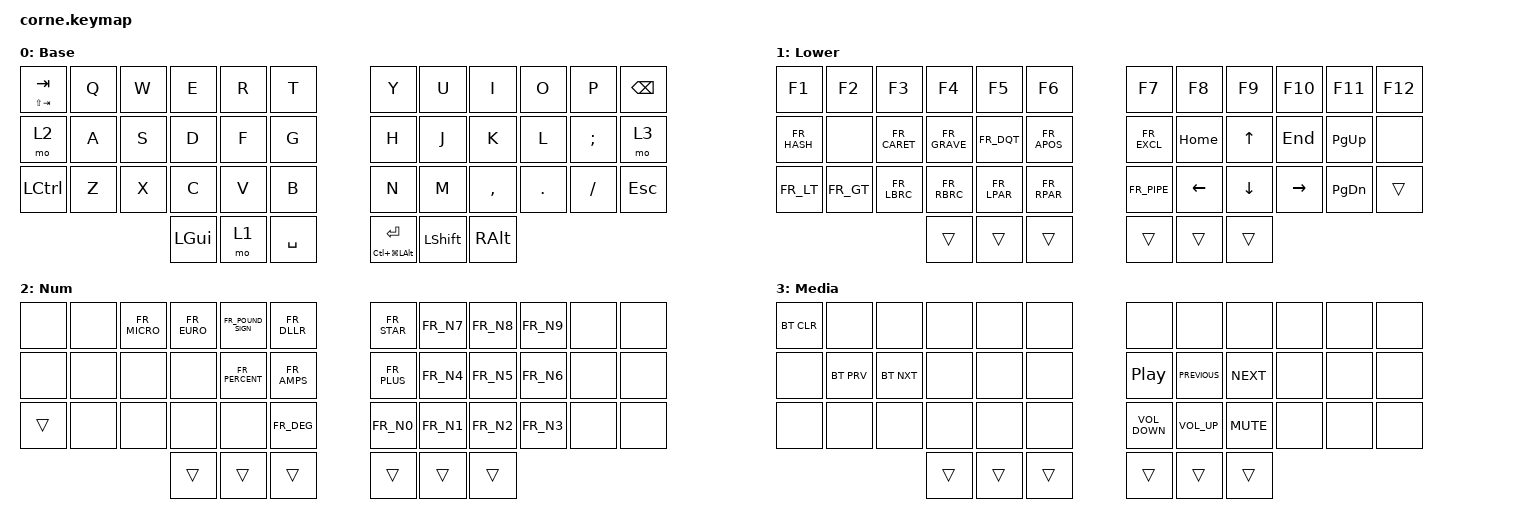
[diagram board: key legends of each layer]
/*
 * Copyright (c) 2020 The ZMK Contributors
 *
 * SPDX-License-Identifier: MIT
 */

/* COMBO_TERM → timeout-ms
 * Max delay for all combo keys to be pressed after the first one. Lower = stricter
 * simultaneous press; higher = easier to hit but more accidental triggers.
 */
#define COMBO_TERM 30

/* COMBO_IDLE → require-prior-idle-ms
 * Min idle time since the last key release before a combo may fire. Prevents false
 * triggers while rolling through keys during fast typing (accents, @, Cmd+X/C/V).
 */
#define COMBO_IDLE 150

#include "keymap_french.h"
#include <behaviors.dtsi>
#include <dt-bindings/zmk/bt.h>
#include <dt-bindings/zmk/keys.h>

/ {
    behaviors {
        a_grave_morph: a_grave_morph {
            compatible = "zmk,behavior-mod-morph";
            #binding-cells = <0>;
            bindings = <&kp FR_A_GRAVE>, <&kp LS(FR_A_GRAVE)>;
            mods = <(MOD_LSFT|MOD_RSFT)>;
        };

        e_acute_morph: e_acute_morph {
            compatible = "zmk,behavior-mod-morph";
            #binding-cells = <0>;
            bindings = <&kp FR_E_ACUTE>, <&kp LS(FR_E_ACUTE)>;
            mods = <(MOD_LSFT|MOD_RSFT)>;
        };

        e_grave_morph: e_grave_morph {
            compatible = "zmk,behavior-mod-morph";
            #binding-cells = <0>;
            bindings = <&kp FR_E_GRAVE>, <&kp LS(FR_E_GRAVE)>;
            mods = <(MOD_LSFT|MOD_RSFT)>;
        };

        c_cedilla_morph: c_cedilla_morph {
            compatible = "zmk,behavior-mod-morph";
            #binding-cells = <0>;
            bindings = <&kp FR_C_CEDILLA>, <&kp LS(FR_C_CEDILLA)>;
            mods = <(MOD_LSFT|MOD_RSFT)>;
        };

        u_grave_morph: u_grave_morph {
            compatible = "zmk,behavior-mod-morph";
            #binding-cells = <0>;
            bindings = <&kp FR_U_GRAVE>, <&kp LS(FR_U_GRAVE)>;
            mods = <(MOD_LSFT|MOD_RSFT)>;
        };
    };

    combos {
        compatible = "zmk,combos";

        at_symbol {
            timeout-ms = <COMBO_TERM>;
            require-prior-idle-ms = <COMBO_IDLE>;
            bindings = <&kp FR_AT>;
            key-positions = <18 30>;
            layers = <0>;
        };

        e_high_accent {
            timeout-ms = <COMBO_TERM>;
            require-prior-idle-ms = <COMBO_IDLE>;
            bindings = <&e_acute_morph>;
            key-positions = <15 16>;
            layers = <0>;
        };

        e_grave_accent {
            timeout-ms = <COMBO_TERM>;
            require-prior-idle-ms = <COMBO_IDLE>;
            bindings = <&e_grave_morph>;
            key-positions = <3 16>;
            layers = <0>;
        };

        a_grave_accent {
            timeout-ms = <COMBO_TERM>;
            require-prior-idle-ms = <COMBO_IDLE>;
            bindings = <&a_grave_morph>;
            key-positions = <1 2>;
        };

        c_cedilla {
            timeout-ms = <COMBO_TERM>;
            require-prior-idle-ms = <COMBO_IDLE>;
            bindings = <&c_cedilla_morph>;
            key-positions = <27 15>;
        };

        u_grave_accent {
            timeout-ms = <COMBO_TERM>;
            require-prior-idle-ms = <COMBO_IDLE>;
            bindings = <&u_grave_morph>;
            key-positions = <7 20>;
        };

        dash {
            timeout-ms = <COMBO_TERM>;
            require-prior-idle-ms = <COMBO_IDLE>;
            bindings = <&kp FR_MINUS>;
            key-positions = <30 31>;
        };

        cut {
            timeout-ms = <COMBO_TERM>;
            require-prior-idle-ms = <COMBO_IDLE>;
            bindings = <&kp LG(X)>;
            key-positions = <26 27>;
        };

        copy {
            timeout-ms = <COMBO_TERM>;
            require-prior-idle-ms = <COMBO_IDLE>;
            bindings = <&kp LG(C)>;
            key-positions = <27 28>;
        };

        paste {
            timeout-ms = <COMBO_TERM>;
            require-prior-idle-ms = <COMBO_IDLE>;
            bindings = <&kp LG(V)>;
            key-positions = <28 29>;
        };

        cmd_w {
            timeout-ms = <COMBO_TERM>;
            require-prior-idle-ms = <COMBO_IDLE>;
            bindings = <&kp LG(W)>;
            key-positions = <16 17>;
        };
    };

    keymap {
        compatible = "zmk,keymap";

        // 0
        default_layer {
            display-name = "Base";
            bindings = <
&mt LS(TAB) TAB   &kp Q  &kp W  &kp E     &kp R  &kp T        &kp Y                 &kp U      &kp I      &kp O    &kp P     &kp BACKSPACE
&mo 2             &kp A  &kp S  &kp D     &kp F  &kp G        &kp H                 &kp J      &kp K      &kp L    &kp SEMI  &mo 3
&kp LEFT_CONTROL  &kp Z  &kp X  &kp C     &kp V  &kp B        &kp N                 &kp M      &kp COMMA  &kp DOT  &kp FSLH  &kp ESC
                                &kp LGUI  &mo 1  &kp SPACE    &mt LC(LG(LALT)) RET  &kp LSHFT  &kp RALT
            >;
        };

        // 1
        lower_layer {
            display-name = "Lower";
            bindings = <
&kp F1       &kp F2     &kp F3        &kp F4        &kp F5       &kp F6         &kp F7       &kp F8          &kp F9          &kp F10          &kp F11    &kp F12
&kp FR_HASH  &none      &kp FR_CARET  &kp FR_GRAVE  &kp FR_DQT   &kp FR_APOS    &kp FR_EXCL  &kp HOME        &kp UP_ARROW    &kp END          &kp PG_UP  &none
&kp FR_LT    &kp FR_GT  &kp FR_LBRC   &kp FR_RBRC   &kp FR_LPAR  &kp FR_RPAR    &kp FR_PIPE  &kp LEFT_ARROW  &kp DOWN_ARROW  &kp RIGHT_ARROW  &kp PG_DN  &trans
                                      &trans        &trans       &trans         &trans       &trans          &trans
            >;
        };

        // 2
        num_layer {
            display-name = "Num";
            bindings = <
&none   &none  &kp FR_MICRO  &kp FR_EURO  &kp FR_POUND_SIGN  &kp FR_DLLR    &kp FR_STAR  &kp FR_N7  &kp FR_N8  &kp FR_N9  &none  &none
&none   &none  &none         &none        &kp FR_PERCENT     &kp FR_AMPS    &kp FR_PLUS  &kp FR_N4  &kp FR_N5  &kp FR_N6  &none  &none
&trans  &none  &none         &none        &none              &kp FR_DEG     &kp FR_N0    &kp FR_N1  &kp FR_N2  &kp FR_N3  &none  &none
                             &trans       &trans             &trans         &trans       &trans     &trans
            >;
        };

        // 3
        media_layer {
            display-name = "Media";
            bindings = <
&bt BT_CLR  &none       &none       &none   &none   &none     &none              &none            &none       &none  &none  &none
&none       &bt BT_PRV  &bt BT_NXT  &none   &none   &none     &kp C_PLAY_PAUSE   &kp C_PREVIOUS   &kp C_NEXT  &none  &none  &none
&none       &none       &none       &none   &none   &none     &kp C_VOLUME_DOWN  &kp C_VOLUME_UP  &kp C_MUTE  &none  &none  &none
                                    &trans  &trans  &trans    &trans             &trans           &trans
            >;
        };
    };
};
